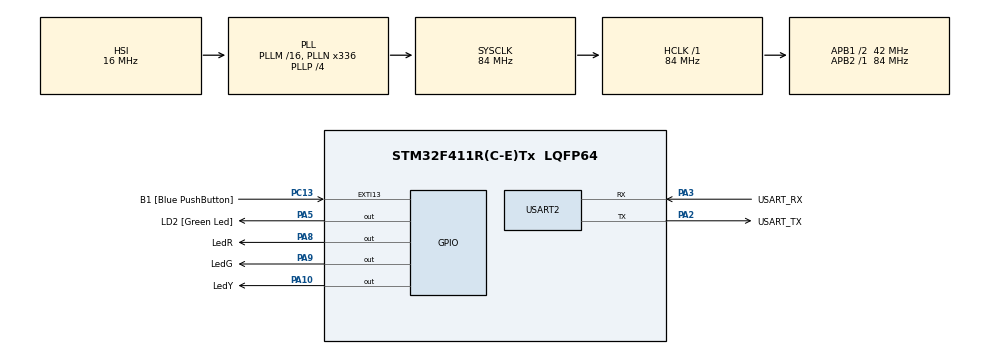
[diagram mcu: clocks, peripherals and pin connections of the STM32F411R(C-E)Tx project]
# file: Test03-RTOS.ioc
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FREERTOS.BinarySemaphores01=myBinarySem01,Dynamic,NULL
FREERTOS.Tasks01=myTask01,0,128,StartTask01,Default,NULL,Dynamic,NULL,NULL;myTask02,-2,128,StartTask02,Default,NULL,Dynamic,NULL,NULL;myTask03,-3,128,StartTask03,Default,NULL,Dynamic,NULL,NULL
FREERTOS.configUSE_NEWLIB_REENTRANT=1
Mcu.Family=STM32F4
Mcu.Name=STM32F411R(C-E)Tx
Mcu.Package=LQFP64
NVIC.EXTI15_10_IRQn=true\:5\:0\:false\:false\:true\:true\:true\:true\:true
NVIC.PriorityGroup=NVIC_PRIORITYGROUP_4
NVIC.TIM1_TRG_COM_TIM11_IRQn=true\:15\:0\:false\:false\:true\:false\:false\:true\:true
NVIC.TimeBase=TIM1_TRG_COM_TIM11_IRQn
NVIC.TimeBaseIP=TIM11
PA10.GPIO_Label=LedY
PA10.Signal=GPIO_Output
PA13.GPIO_Label=TMS
PA13.Mode=Serial_Wire
PA13.Signal=SYS_JTMS-SWDIO
PA14.GPIO_Label=TCK
PA14.Mode=Serial_Wire
PA14.Signal=SYS_JTCK-SWCLK
PA2.GPIO_Label=USART_TX
PA2.Mode=Asynchronous
PA2.Signal=USART2_TX
PA3.GPIO_Label=USART_RX
PA3.Mode=Asynchronous
PA3.Signal=USART2_RX
PA5.GPIO_Label=LD2 [Green Led]
PA5.Signal=GPIO_Output
PA8.GPIO_Label=LedR
PA8.Signal=GPIO_Output
PA9.GPIO_Label=LedG
PA9.Signal=GPIO_Output
PB3.GPIO_Label=SWO
PB3.Signal=SYS_JTDO-SWO
PC13-ANTI_TAMP.GPIO_Label=B1 [Blue PushButton]
PC13-ANTI_TAMP.GPIO_ModeDefaultEXTI=GPIO_MODE_IT_FALLING
PC13-ANTI_TAMP.Signal=GPXTI13
PC14-OSC32_IN.Mode=LSE-External-Oscillator
PC14-OSC32_IN.Signal=RCC_OSC32_IN
PC15-OSC32_OUT.Mode=LSE-External-Oscillator
PC15-OSC32_OUT.Signal=RCC_OSC32_OUT
PH0\ -\ OSC_IN.Mode=HSE-External-Clock-Source
PH0\ -\ OSC_IN.Signal=RCC_OSC_IN
PH1\ -\ OSC_OUT.Mode=HSE-External-Clock-Source
PH1\ -\ OSC_OUT.Signal=RCC_OSC_OUT
ProjectManager.HeapSize=0x200
ProjectManager.StackSize=0x400
ProjectManager.TargetToolchain=STM32CubeIDE
RCC.48MHZClocksFreq_Value=84000000
RCC.AHBFreq_Value=84000000
RCC.APB1CLKDivider=RCC_HCLK_DIV2
RCC.APB1Freq_Value=42000000
RCC.APB1TimFreq_Value=84000000
RCC.APB2Freq_Value=84000000
RCC.APB2TimFreq_Value=84000000
RCC.CortexFreq_Value=84000000
RCC.FLatency-AdvancedSettings=FLASH_LATENCY_2
RCC.HCLKFreq_Value=84000000
RCC.HSE_VALUE=8000000
RCC.HSI_VALUE=16000000
RCC.PLLN=336
RCC.PLLP=RCC_PLLP_DIV4
RCC.SYSCLKFreq_VALUE=84000000
RCC.SYSCLKSource=RCC_SYSCLKSOURCE_PLLCLK
RCC.VCOOutputFreq_Value=336000000
USART2.VirtualMode=VM_ASYNC
VP_FREERTOS_VS_CMSIS_V1.Mode=CMSIS_V1
VP_SYS_VS_tim11.Mode=TIM11
board=NUCLEO-F411RE

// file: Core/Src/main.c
/* USER CODE BEGIN Header */
/**
  ******************************************************************************
  * @file           : main.c
  * @brief          : Main program body
  ******************************************************************************
  * @attention
  *
  * Copyright (c) 2023 STMicroelectronics.
  * All rights reserved.
  *
  * This software is licensed under terms that can be found in the LICENSE file
  * in the root directory of this software component.
  * If no LICENSE file comes with this software, it is provided AS-IS.
  *
  ******************************************************************************
  */
/* USER CODE END Header */
#include "main.h"
#include "cmsis_os.h"

/* USER CODE BEGIN Includes */
#include <stdio.h>
/* USER CODE END Includes */

UART_HandleTypeDef huart2;

osThreadId myTask01Handle;
osThreadId myTask02Handle;
osThreadId myTask03Handle;
osSemaphoreId myBinarySem01Handle;
/* USER CODE BEGIN PV */
#include "../../../myLib/myLib.c"
/* USER CODE END PV */

void SystemClock_Config(void);
static void MX_GPIO_Init(void);
static void MX_USART2_UART_Init(void);
void StartTask01(void const * argument);
void StartTask02(void const * argument);
void StartTask03(void const * argument);

/* USER CODE BEGIN 0 */
void HAL_GPIO_EXTI_Callback(uint16_t GPIO_Pin)
{
	osSemaphoreRelease(myBinarySem01Handle);
}
/* USER CODE END 0 */

int main(void)
{

  /* MCU Configuration--------------------------------------------------------*/

  /* Reset of all peripherals, Initializes the Flash interface and the Systick. */
  HAL_Init();

  /* Configure the system clock */
  SystemClock_Config();

  /* Initialize all configured peripherals */
  MX_GPIO_Init();
  MX_USART2_UART_Init();
  /* USER CODE BEGIN 2 */
  printf("\033[1J\033[1;1HRTOS Test Program Started.\r\n");
  printf("Press B1 button to release Semaphore.\r\n");
  /* USER CODE END 2 */

  /* Create the semaphores(s) */
  /* definition and creation of myBinarySem01 */
  osSemaphoreDef(myBinarySem01);
  myBinarySem01Handle = osSemaphoreCreate(osSemaphore(myBinarySem01), 1);

  /* Create the thread(s) */
  /* definition and creation of myTask01 */
  osThreadDef(myTask01, StartTask01, osPriorityNormal, 0, 128);
  myTask01Handle = osThreadCreate(osThread(myTask01), NULL);

  /* definition and creation of myTask02 */
  osThreadDef(myTask02, StartTask02, osPriorityLow, 0, 128);
  myTask02Handle = osThreadCreate(osThread(myTask02), NULL);

  /* definition and creation of myTask03 */
  osThreadDef(myTask03, StartTask03, osPriorityIdle, 0, 128);
  myTask03Handle = osThreadCreate(osThread(myTask03), NULL);

  /* Start scheduler */
  osKernelStart();

  /* We should never get here as control is now taken by the scheduler */
  /* Infinite loop */
  /* USER CODE BEGIN WHILE */
  int n = 0;
  while (1)
  {
    /* USER CODE END WHILE */

    /* USER CODE BEGIN 3 */
	  printf("in Main procedure......%d\r\n", n++);
	  HAL_GPIO_TogglePin(LedR_GPIO_Port, LedR_Pin);
	  HAL_GPIO_TogglePin(LedG_GPIO_Port, LedG_Pin);
	  HAL_GPIO_TogglePin(LedY_GPIO_Port, LedY_Pin);
	  HAL_Delay(1000);
  }
  /* USER CODE END 3 */
}

void SystemClock_Config(void)
{
  RCC_OscInitTypeDef RCC_OscInitStruct = {0};
  RCC_ClkInitTypeDef RCC_ClkInitStruct = {0};

  /** Configure the main internal regulator output voltage
  */
  __HAL_RCC_PWR_CLK_ENABLE();
  __HAL_PWR_VOLTAGESCALING_CONFIG(PWR_REGULATOR_VOLTAGE_SCALE1);

  /** Initializes the RCC Oscillators according to the specified parameters
  * in the RCC_OscInitTypeDef structure.
  */
  RCC_OscInitStruct.OscillatorType = RCC_OSCILLATORTYPE_HSI;
  RCC_OscInitStruct.HSIState = RCC_HSI_ON;
  RCC_OscInitStruct.HSICalibrationValue = RCC_HSICALIBRATION_DEFAULT;
  RCC_OscInitStruct.PLL.PLLState = RCC_PLL_ON;
  RCC_OscInitStruct.PLL.PLLSource = RCC_PLLSOURCE_HSI;
  RCC_OscInitStruct.PLL.PLLM = 16;
  RCC_OscInitStruct.PLL.PLLN = 336;
  RCC_OscInitStruct.PLL.PLLP = RCC_PLLP_DIV4;
  RCC_OscInitStruct.PLL.PLLQ = 4;
  if (HAL_RCC_OscConfig(&RCC_OscInitStruct) != HAL_OK)
  {
    Error_Handler();
  }

  /** Initializes the CPU, AHB and APB buses clocks
  */
  RCC_ClkInitStruct.ClockType = RCC_CLOCKTYPE_HCLK|RCC_CLOCKTYPE_SYSCLK
                              |RCC_CLOCKTYPE_PCLK1|RCC_CLOCKTYPE_PCLK2;
  RCC_ClkInitStruct.SYSCLKSource = RCC_SYSCLKSOURCE_PLLCLK;
  RCC_ClkInitStruct.AHBCLKDivider = RCC_SYSCLK_DIV1;
  RCC_ClkInitStruct.APB1CLKDivider = RCC_HCLK_DIV2;
  RCC_ClkInitStruct.APB2CLKDivider = RCC_HCLK_DIV1;

  if (HAL_RCC_ClockConfig(&RCC_ClkInitStruct, FLASH_LATENCY_2) != HAL_OK)
  {
    Error_Handler();
  }
}

static void MX_USART2_UART_Init(void)
{

  huart2.Instance = USART2;
  huart2.Init.BaudRate = 115200;
  huart2.Init.WordLength = UART_WORDLENGTH_8B;
  huart2.Init.StopBits = UART_STOPBITS_1;
  huart2.Init.Parity = UART_PARITY_NONE;
  huart2.Init.Mode = UART_MODE_TX_RX;
  huart2.Init.HwFlowCtl = UART_HWCONTROL_NONE;
  huart2.Init.OverSampling = UART_OVERSAMPLING_16;
  if (HAL_UART_Init(&huart2) != HAL_OK)
  {
    Error_Handler();
  }

}

static void MX_GPIO_Init(void)
{
  GPIO_InitTypeDef GPIO_InitStruct = {0};

  /* GPIO Ports Clock Enable */
  __HAL_RCC_GPIOC_CLK_ENABLE();
  __HAL_RCC_GPIOH_CLK_ENABLE();
  __HAL_RCC_GPIOA_CLK_ENABLE();
  __HAL_RCC_GPIOB_CLK_ENABLE();

  /*Configure GPIO pin Output Level */
  HAL_GPIO_WritePin(GPIOA, LD2_Pin|LedR_Pin|LedG_Pin|LedY_Pin, GPIO_PIN_RESET);

  /*Configure GPIO pin : B1_Pin */
  GPIO_InitStruct.Pin = B1_Pin;
  GPIO_InitStruct.Mode = GPIO_MODE_IT_FALLING;
  GPIO_InitStruct.Pull = GPIO_NOPULL;
  HAL_GPIO_Init(B1_GPIO_Port, &GPIO_InitStruct);

  /*Configure GPIO pins : LD2_Pin LedR_Pin LedG_Pin LedY_Pin */
  GPIO_InitStruct.Pin = LD2_Pin|LedR_Pin|LedG_Pin|LedY_Pin;
  GPIO_InitStruct.Mode = GPIO_MODE_OUTPUT_PP;
  GPIO_InitStruct.Pull = GPIO_NOPULL;
  GPIO_InitStruct.Speed = GPIO_SPEED_FREQ_LOW;
  HAL_GPIO_Init(GPIOA, &GPIO_InitStruct);

  /* EXTI interrupt init*/
  HAL_NVIC_SetPriority(EXTI15_10_IRQn, 5, 0);
  HAL_NVIC_EnableIRQ(EXTI15_10_IRQn);

}

void StartTask01(void const * argument)
{
  /* USER CODE BEGIN 5 */
  /* Infinite loop */
	int n=0;
 	for(;;)
  {
 		if(osSemaphoreWait(myBinarySem01Handle, 10) == osOK)
 		{
 			printf("\033[3;1Hin Default Task.....%d   \r\n", n++);
 			//HAL_GPIO_TogglePin(LedR_GPIO_Port, LedR_Pin); HAL_Delay(100);
 			HAL_GPIO_WritePin(LedR_GPIO_Port, LedR_Pin, 1); HAL_Delay(100);
 			HAL_GPIO_WritePin(LedR_GPIO_Port, LedR_Pin, 0); HAL_Delay(100);
 			osSemaphoreRelease(myBinarySem01Handle);
 		}
	  osDelay(1);
  }
  /* USER CODE END 5 */
}

void StartTask02(void const * argument)
{
  /* USER CODE BEGIN StartTask02 */
  /* Infinite loop */
	int n=0;
  for(;;)
  {
	  if(osSemaphoreWait(myBinarySem01Handle, 10) == osOK)
	  {
		  printf("\033[5;1Hin Task 02.....%d   \r\n", n++);
		  //HAL_GPIO_TogglePin(LedG_GPIO_Port, LedG_Pin); HAL_Delay(100);
		  HAL_GPIO_WritePin(LedG_GPIO_Port, LedG_Pin, 1); HAL_Delay(100);
		  HAL_GPIO_WritePin(LedG_GPIO_Port, LedG_Pin, 0); HAL_Delay(100);
		  osSemaphoreRelease(myBinarySem01Handle);
	  }
      osDelay(1);
  }
  /* USER CODE END StartTask02 */
}

void StartTask03(void const * argument)
{
  /* USER CODE BEGIN StartTask03 */
  /* Infinite loop */
	int n=0;
  for(;;)
  {
	  if(osSemaphoreWait(myBinarySem01Handle, 10) == osOK)
	  {
		  printf("\033[15;1Hin Task 03.....%d   \r\n", n++);
		  //HAL_GPIO_TogglePin(LedY_GPIO_Port, LedY_Pin); HAL_Delay(100);
		  HAL_GPIO_WritePin(LedY_GPIO_Port, LedY_Pin, 1); HAL_Delay(100);
		  HAL_GPIO_WritePin(LedY_GPIO_Port, LedY_Pin, 0); HAL_Delay(100);
		  osSemaphoreRelease(myBinarySem01Handle);
		  }
      osDelay(1);
  }
  /* USER CODE END StartTask03 */
}

void HAL_TIM_PeriodElapsedCallback(TIM_HandleTypeDef *htim)
{
  if (htim->Instance == TIM11) {
    HAL_IncTick();
  }
}

void Error_Handler(void)
{
  __disable_irq();
  while (1)
  {
  }
}
